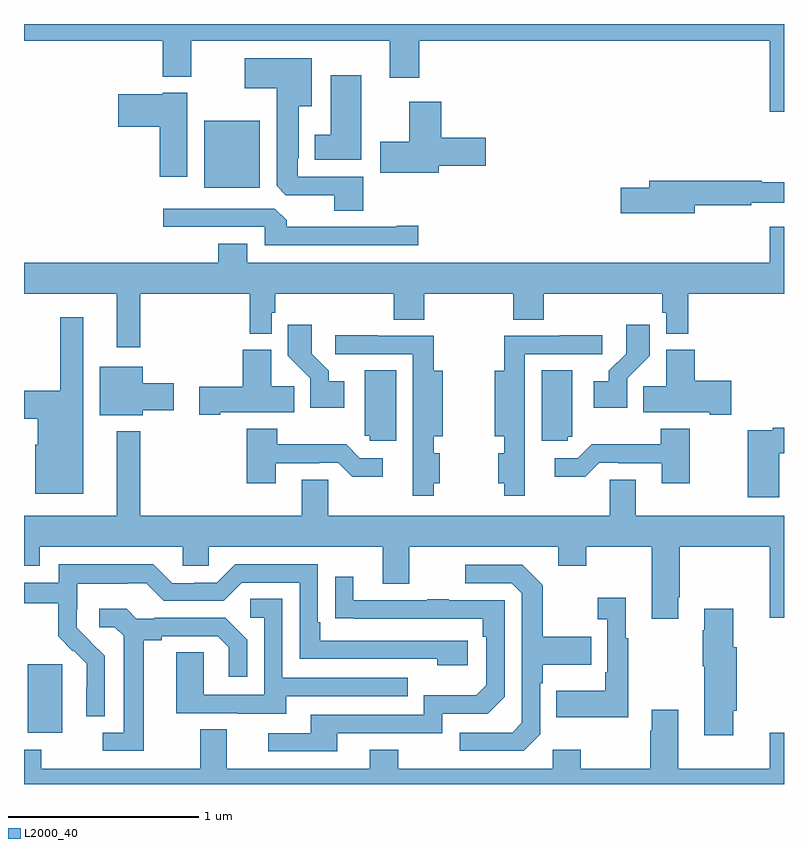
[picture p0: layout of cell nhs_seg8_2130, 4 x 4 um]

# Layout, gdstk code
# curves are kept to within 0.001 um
import gdstk
lib = gdstk.Library(unit=1e-6, precision=1e-09)
def R(c, l, rs):  # rectangles x0, y0, x1, y1
    for r in rs: c.add(gdstk.rectangle(r[:2], r[2:], *l))
def P(c, l, *ps):  # polygons
    for p in ps: c.add(gdstk.Polygon(p, *l))
L2000_40 = (2000, 40)

nhs_seg8_2130 = lib.new_cell('nhs_seg8_2130')
R(nhs_seg8_2130, L2000_40, [(245.021,1134.17,245.2,1134.531), (245.948,1137.038,246.241,1137.391)])
P(nhs_seg8_2130, L2000_40, [(249,1137.9),(245,1137.9),(245,1137.812),(245.729,1137.812),(245.729,1137.623),(245.881,1137.623),(245.881,1137.812),(246.926,1137.812),(246.926,1137.618),(247.079,1137.618),(247.079,1137.812),(248.924,1137.812),(248.924,1137.438),(249,1137.438)],
  [(246.785,1137.096),(246.441,1137.096),(246.441,1137.193),(246.445,1137.193),(246.445,1137.467),(246.514,1137.467),(246.514,1137.721),(246.162,1137.721),(246.162,1137.563),(246.329,1137.563),(246.329,1137.049),(246.378,1137),(246.632,1137),(246.632,1136.917),(246.785,1136.917)],
  [(246.775,1137.631),(246.614,1137.631),(246.614,1137.316),(246.53,1137.316),(246.53,1137.185),(246.775,1137.185)],
  [(245.86,1137.538),(245.73,1137.538),(245.73,1137.529),(245.496,1137.529),(245.496,1137.359),(245.714,1137.359),(245.714,1137.096),(245.86,1137.096)],
  [(247.183,1137.155),(247.429,1137.155),(247.429,1137.302),(247.196,1137.302),(247.196,1137.49),(247.028,1137.49),(247.028,1137.279),(246.876,1137.279),(246.876,1137.116),(247.183,1137.116)],
  [(248.53,1136.946),(248.828,1136.946),(248.828,1136.958),(249,1136.958),(249,1137.067),(248.882,1137.067),(248.882,1137.074),(248.291,1137.074),(248.291,1137.038),(248.142,1137.038),(248.142,1136.903),(248.53,1136.903)],
  [(247.075,1136.837),(246.962,1136.837),(246.962,1136.832),(246.383,1136.832),(246.383,1136.866),(246.321,1136.928),(245.733,1136.928),(245.733,1136.832),(246.267,1136.832),(246.267,1136.736),(247.075,1136.736)],
  [(246.175,1136.743),(246.023,1136.743),(246.023,1136.644),(245,1136.644),(245,1136.48),(245.489,1136.48),(245.489,1136.199),(245.611,1136.199),(245.611,1136.48),(246.187,1136.48),(246.187,1136.27),(246.303,1136.27),(246.303,1136.379),(246.323,1136.379),(246.323,1136.48),(246.947,1136.48),(246.947,1136.344),(247.107,1136.344),(247.107,1136.48),(247.576,1136.48),(247.576,1136.344),(247.736,1136.344),(247.736,1136.48),(248.359,1136.48),(248.359,1136.379),(248.379,1136.379),(248.379,1136.27),(248.495,1136.27),(248.495,1136.48),(249,1136.48),(249,1136.833),(248.924,1136.833),(248.924,1136.644),(246.175,1136.644)],
  [(245.311,1136.356),(245.19,1136.356),(245.19,1135.97),(245,1135.97),(245,1135.823),(245.072,1135.823),(245.072,1135.686),(245.06,1135.686),(245.06,1135.427),(245.311,1135.427)],
  [(248.175,1136.035),(248.294,1136.154),(248.294,1136.317),(248.169,1136.317),(248.169,1136.165),(248.078,1136.075),(248.078,1136.02),(247.998,1136.02),(247.998,1135.88),(248.175,1135.88)],
  [(246.685,1136.02),(246.604,1136.02),(246.604,1136.075),(246.514,1136.165),(246.514,1136.317),(246.388,1136.317),(246.388,1136.154),(246.507,1136.035),(246.507,1135.88),(246.685,1135.88)],
  [(247.156,1135.484),(247.188,1135.484),(247.188,1135.642),(247.156,1135.642),(247.156,1135.73),(247.204,1135.73),(247.204,1136.074),(247.156,1136.074),(247.156,1136.259),(246.863,1136.259),(246.863,1136.262),(246.639,1136.262),(246.639,1136.163),(247.046,1136.163),(247.046,1135.416),(247.156,1135.416)],
  [(247.636,1136.163),(248.044,1136.163),(248.044,1136.262),(247.819,1136.262),(247.819,1136.259),(247.527,1136.259),(247.527,1136.074),(247.478,1136.074),(247.478,1135.73),(247.527,1135.73),(247.527,1135.642),(247.495,1135.642),(247.495,1135.484),(247.527,1135.484),(247.527,1135.416),(247.636,1135.416)],
  [(246.034,1135.856),(246.422,1135.856),(246.422,1135.994),(246.301,1135.994),(246.301,1136.185),(246.152,1136.185),(246.152,1135.991),(245.922,1135.991),(245.922,1135.844),(246.034,1135.844)],
  [(248.722,1136.022),(248.531,1136.022),(248.531,1136.185),(248.381,1136.185),(248.381,1135.994),(248.26,1135.994),(248.26,1135.856),(248.609,1135.856),(248.609,1135.844),(248.722,1135.844)],
  [(245.626,1135.868),(245.788,1135.868),(245.788,1136.01),(245.626,1136.01),(245.626,1136.095),(245.399,1136.095),(245.399,1135.841),(245.626,1135.841)],
  [(246.958,1136.078),(246.794,1136.078),(246.794,1135.734),(246.819,1135.734),(246.819,1135.707),(246.958,1135.707)],
  [(247.863,1135.728),(247.885,1135.728),(247.885,1136.077),(247.724,1136.077),(247.724,1135.707),(247.863,1135.707)],
  [(248.974,1135.64),(249,1135.64),(249,1135.775),(248.94,1135.775),(248.94,1135.762),(248.809,1135.762),(248.809,1135.41),(248.974,1135.41)],
  [(246.325,1135.587),(246.554,1135.587),(246.554,1135.59),(246.654,1135.59),(246.727,1135.517),(246.889,1135.517),(246.889,1135.614),(246.768,1135.614),(246.695,1135.687),(246.333,1135.687),(246.333,1135.771),(246.173,1135.771),(246.173,1135.482),(246.325,1135.482)],
  [(248.505,1135.771),(248.35,1135.771),(248.35,1135.687),(247.987,1135.687),(247.914,1135.614),(247.794,1135.614),(247.794,1135.517),(247.955,1135.517),(248.028,1135.59),(248.128,1135.59),(248.128,1135.587),(248.357,1135.587),(248.357,1135.482),(248.505,1135.482)],
  [(248.443,1134.883),(248.451,1134.883),(248.451,1135.148),(248.924,1135.148),(248.924,1134.774),(249,1134.774),(249,1135.312),(248.221,1135.312),(248.221,1135.502),(248.082,1135.502),(248.082,1135.312),(246.6,1135.312),(246.6,1135.502),(246.461,1135.502),(246.461,1135.312),(245.611,1135.312),(245.611,1135.756),(245.489,1135.756),(245.489,1135.312),(245,1135.312),(245,1135.049),(245.083,1135.049),(245.083,1135.148),(245.835,1135.148),(245.835,1135.05),(245.973,1135.05),(245.973,1135.148),(246.887,1135.148),(246.887,1134.954),(247.027,1134.954),(247.027,1135.148),(247.811,1135.148),(247.811,1135.049),(247.959,1135.049),(247.959,1135.148),(248.303,1135.148),(248.303,1134.771),(248.443,1134.771)],
  [(245.424,1134.574),(245.278,1134.722),(245.278,1134.819),(245.28,1134.819),(245.28,1134.953),(245.543,1134.953),(245.543,1134.957),(245.643,1134.957),(245.736,1134.864),(246.051,1134.864),(246.147,1134.96),(246.45,1134.96),(246.45,1134.558),(247.175,1134.558),(247.175,1134.524),(247.336,1134.524),(247.336,1134.654),(246.559,1134.654),(246.559,1134.751),(246.546,1134.751),(246.546,1135.056),(246.111,1135.056),(246.015,1134.96),(245.897,1134.96),(245.897,1134.957),(245.781,1134.957),(245.681,1135.057),(245.184,1135.057),(245.184,1134.96),(245,1134.96),(245,1134.852),(245.179,1134.852),(245.179,1134.677),(245.256,1134.6),(245.259,1134.603),(245.33,1134.533),(245.33,1134.41),(245.328,1134.41),(245.328,1134.256),(245.424,1134.256)],
  [(247.716,1134.162),(247.716,1134.431),(247.729,1134.431),(247.729,1134.527),(247.985,1134.527),(247.985,1134.675),(247.729,1134.675),(247.729,1134.947),(247.623,1135.053),(247.323,1135.053),(247.323,1134.957),(247.566,1134.957),(247.62,1134.903),(247.62,1134.222),(247.569,1134.171),(247.293,1134.171),(247.293,1134.075),(247.629,1134.075)],
  [(246.649,1134.168),(247.2,1134.168),(247.2,1134.27),(247.44,1134.27),(247.53,1134.36),(247.53,1134.867),(247.235,1134.867),(247.235,1134.872),(247.123,1134.872),(247.123,1134.867),(246.733,1134.867),(246.733,1134.991),(246.637,1134.991),(246.637,1134.772),(247.414,1134.771),(247.414,1134.674),(247.434,1134.674),(247.434,1134.42),(247.381,1134.367),(247.104,1134.367),(247.104,1134.264),(246.509,1134.264),(246.509,1134.168),(246.285,1134.168),(246.285,1134.072),(246.649,1134.072)],
  [(248.179,1134.667),(248.167,1134.667),(248.167,1134.88),(248.019,1134.88),(248.019,1134.767),(248.07,1134.767),(248.07,1134.487),(248.058,1134.487),(248.058,1134.391),(247.801,1134.391),(247.801,1134.251),(248.179,1134.251)],
  [(246.379,1134.363),(247.019,1134.363),(247.019,1134.459),(246.36,1134.459),(246.36,1134.875),(246.192,1134.875),(246.192,1134.774),(246.264,1134.774),(246.264,1134.369),(245.946,1134.369),(245.946,1134.593),(245.801,1134.593),(245.801,1134.273),(246.125,1134.273),(246.125,1134.269),(246.379,1134.269)],
  [(248.734,1134.285),(248.752,1134.285),(248.752,1134.621),(248.734,1134.621),(248.734,1134.823),(248.579,1134.823),(248.579,1134.71),(248.572,1134.71),(248.572,1134.521),(248.579,1134.521),(248.579,1134.156),(248.734,1134.156)],
  [(245.629,1134.656),(245.725,1134.656),(245.725,1134.678),(246.02,1134.678),(246.077,1134.621),(246.077,1134.465),(246.174,1134.465),(246.174,1134.658),(246.058,1134.774),(245.686,1134.774),(245.686,1134.771),(245.592,1134.771),(245.54,1134.823),(245.397,1134.823),(245.397,1134.726),(245.478,1134.726),(245.525,1134.679),(245.525,1134.171),(245.415,1134.171),(245.415,1134.075),(245.629,1134.075)],
  [(248.303,1134.292),(248.303,1134.179),(248.296,1134.179),(248.296,1133.98),(247.929,1133.98),(247.929,1134.079),(247.782,1134.079),(247.782,1133.98),(246.969,1133.98),(246.969,1134.079),(246.821,1134.079),(246.821,1133.98),(246.067,1133.98),(246.067,1134.188),(245.927,1134.188),(245.927,1133.98),(245.091,1133.98),(245.091,1134.079),(245,1134.079),(245,1133.9),(249,1133.9),(249,1134.169),(248.924,1134.169),(248.924,1133.98),(248.443,1133.98),(248.443,1134.292)])

lib.write_gds('nhs_seg8_2130.gds')
